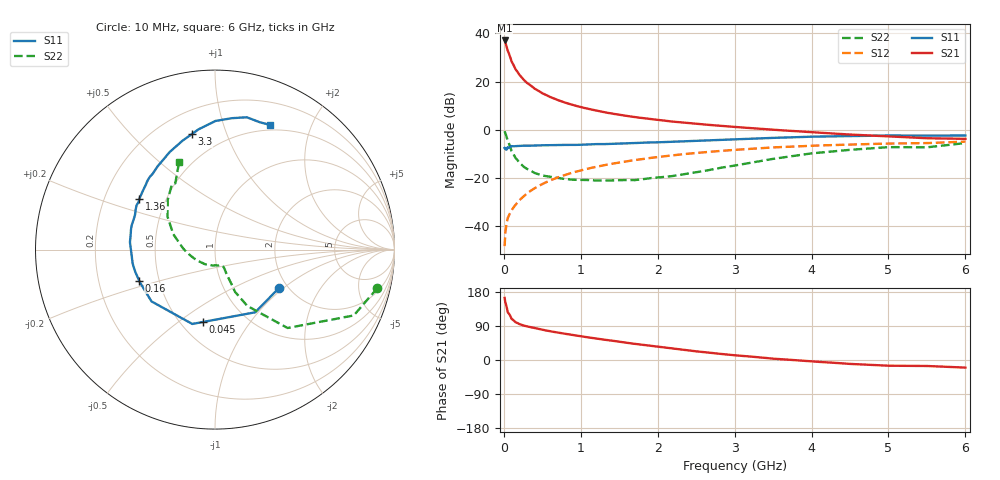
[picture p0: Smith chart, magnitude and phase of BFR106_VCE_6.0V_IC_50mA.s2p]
! Infineon Technologies  Discrete & RF Semiconductors
! BFR106
! VCE =  6.0 V,  IC =  50 mA
! Common Emitter S-Parameters:  Nov 2015
# GHz  S  MA  R  50
!  f  S11  S21  S12  S22
! GHz  MAG  ANG  MAG  ANG  MAG  ANG  MAG  ANG
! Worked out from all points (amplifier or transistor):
!   210 points, 10 MHz to 6 GHz, reference 50 ohm
!   highest |S21| = 37.1 dB at 10 MHz (marker M1)
!   |S21| within 3 dB of that: start of sweep to 38.94 MHz
!   unconditionally stable (mu >= 1): 254.9 MHz to 2.279 GHz
!   at 185 MHz: K = 0.93, MSG = 26.8 dB, |S12| = -30.0 dB
!   at 1.52 GHz: K = 1.05, MAG = 8.5 dB, |S12| = -13.5 dB
!   at 6 GHz: K = 0.98, MSG = 0.6 dB, |S12| = -5.0 dB
!   S11 on the Smith chart (normalised r, x): 10 MHz: 1.81, -0.93; 45 MHz: 0.64, -0.62; 160 MHz: 0.39, -0.17; 1.36 GHz: 0.35, +0.27; 3.3 GHz: 0.34, +0.76; 6 GHz: 0.44, +1.44
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0.01  0.4166 -30.5  71.58 163.9  0.0038 79.2  0.9294 -13.4
0.02  0.4151 -57.3  64.96 151.4  0.0075 75.0  0.8556 -25.4
0.045  0.4092 -99.6  46.94 131.8  0.0133 63.6  0.6308 -42.4
0.05  0.4332 -107.0  44.31 126.1  0.0145 62.4  0.5954 -47.2
0.1  0.4566 -140.8  26.41 108.6  0.021 61.3  0.3619 -60.1
0.15  0.4561 -156.2  18.28 99.9  0.0273 63.7  0.2616 -64.6
0.16  0.4564 -157.8  17.42 99.1  0.0286 64.5  0.2511 -64.6
0.2  0.4609 -164.0  14 95.0  0.0338 67.2  0.2089 -64.4
0.26  0.4652 -170.7  10.86 90.7  0.0416 68.9  0.169 -64.6
0.3  0.4645 -173.6  9.421 88.5  0.0472 70.4  0.1541 -64.8
0.4  0.4687 179.9  7.138 84.0  0.0607 71.5  0.1262 -64.0
0.5  0.4757 175.0  5.729 79.7  0.0741 72.0  0.1116 -63.4
0.6  0.4763 171.1  4.799 75.9  0.088 71.3  0.1053 -64.6
0.8  0.4835 163.9  3.635 69.1  0.1154 69.8  0.0941 -69.6
1.02  0.4876 155.9  2.898 62.0  0.1451 67.4  0.0907 -76.4
1.36  0.5061 146.3  2.226 52.2  0.1902 63.1  0.0882 -92.1
2.02  0.5485 128.9  1.586 34.5  0.2729 53.8  0.1022 -132.5
3.1  0.6399 104.9  1.112 10.9  0.3902 37.7  0.1916 172.7
3.3  0.6568 101.3  1.053 7.4  0.4089 34.7  0.2183 165.4
4.1  0.7201 88.3  0.868 -5.0  0.4705 22.9  0.3329 142.6
5.1  0.7565 75.3  0.715 -15.2  0.5184 10.1  0.4339 123.1
6  0.7589 66.4  0.646 -20.1  0.5652 0.2  0.5271 112.3
